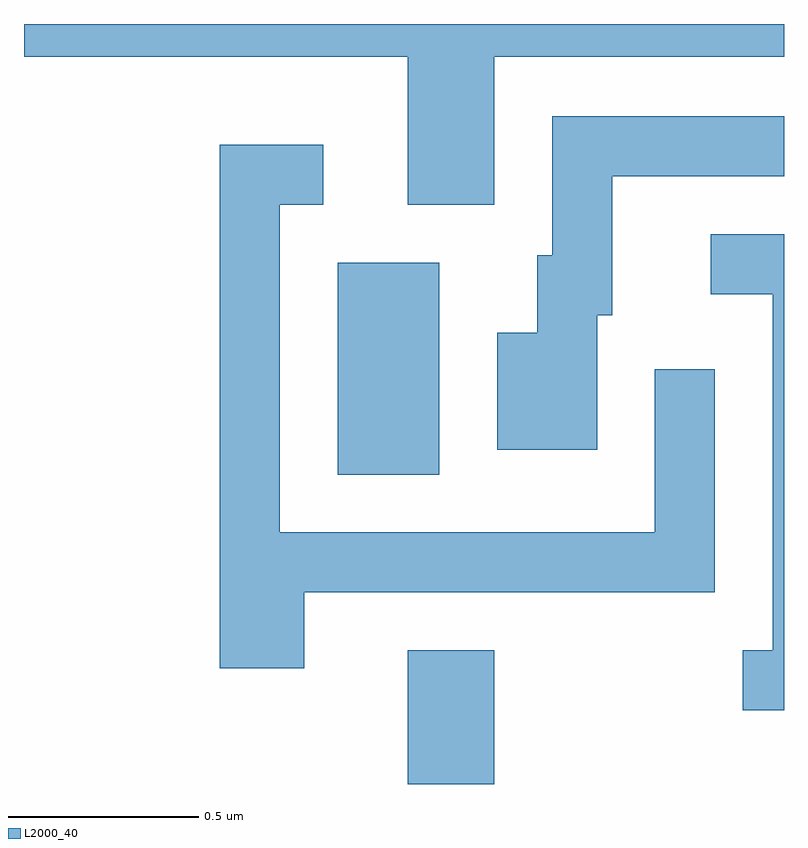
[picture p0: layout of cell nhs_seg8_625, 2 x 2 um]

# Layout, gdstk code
import gdstk
lib = gdstk.Library(unit=1e-6, precision=1e-09)
def R(c, l, rs):  # rectangles x0, y0, x1, y1
    for r in rs: c.add(gdstk.rectangle(r[:2], r[2:], *l))
def P(c, l, *ps):  # polygons
    for p in ps: c.add(gdstk.Polygon(p, *l))
L2000_40 = (2000, 40)

nhs_seg8_625 = lib.new_cell('nhs_seg8_625')
R(nhs_seg8_625, L2000_40, [(190.621,1883.342,190.849,1883.694), (190.436,1884.156,190.704,1884.714)])
P(nhs_seg8_625, L2000_40, [(190.849,1885.256),(191.611,1885.256),(191.611,1885.342),(189.611,1885.342),(189.611,1885.256),(190.621,1885.256),(190.621,1884.866),(190.849,1884.866)],
  [(191.119,1884.576),(191.159,1884.576),(191.159,1884.941),(191.611,1884.941),(191.611,1885.099),(191.001,1885.099),(191.001,1884.734),(190.961,1884.734),(190.961,1884.529),(190.856,1884.529),(190.856,1884.221),(191.119,1884.221)],
  [(190.349,1883.846),(191.429,1883.846),(191.429,1884.433),(191.271,1884.433),(191.271,1884.004),(190.284,1884.004),(190.284,1884.866),(190.398,1884.866),(190.398,1885.024),(190.126,1885.024),(190.126,1883.646),(190.349,1883.646)],
  [(191.611,1884.789),(191.418,1884.789),(191.418,1884.631),(191.581,1884.631),(191.581,1883.694),(191.503,1883.694),(191.503,1883.536),(191.611,1883.536)])

lib.write_gds('nhs_seg8_625.gds')
